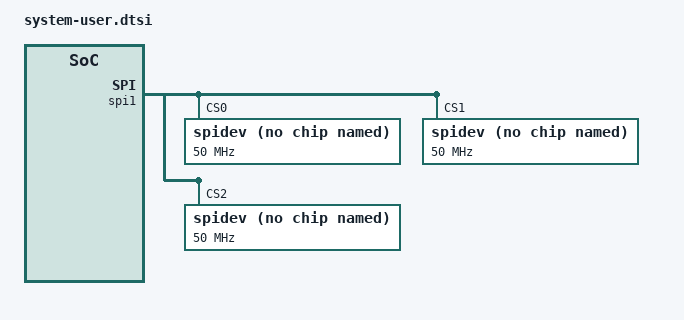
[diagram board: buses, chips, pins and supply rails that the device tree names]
/*
 * Manual Device tree adjustments
*/

// PS uarts can only have alias serial0 and serial1, otherwise driver cannot load correctly
/ {
    aliases {
        serial0 = &uart1;
        serial1 = &axi_uartlite_0;
        serial2 = &axi_uart16550_0;
    };
};

// Make SPI1 to be spidev compatible in order to access it in user space
&spi1 {
    spidev@0 {
        compatible = "spidev";
        spi-max-frequency = <50000000>;
        reg = <0>;
    };
    spidev@1 {
        compatible = "spidev";
        spi-max-frequency = <50000000>;
        reg = <1>;
    };
    spidev@2 {
        compatible = "spidev";
        spi-max-frequency = <50000000>;
        reg = <2>;
    };
};

// Add xadc channels so that they are available in user space
&xadc_wiz_0 {
    xlnx,channels {
        #address-cells = <1>;
        #size-cells = <0>;
        channelJA4@7 {
            reg = <7>;
        };
        channelJA2@8 {
            reg = <8>;
        };
        channelJA1@15 {
            reg = <15>;
        };
        channelJA3@16 {
            reg = <16>;
        };
    };
};
